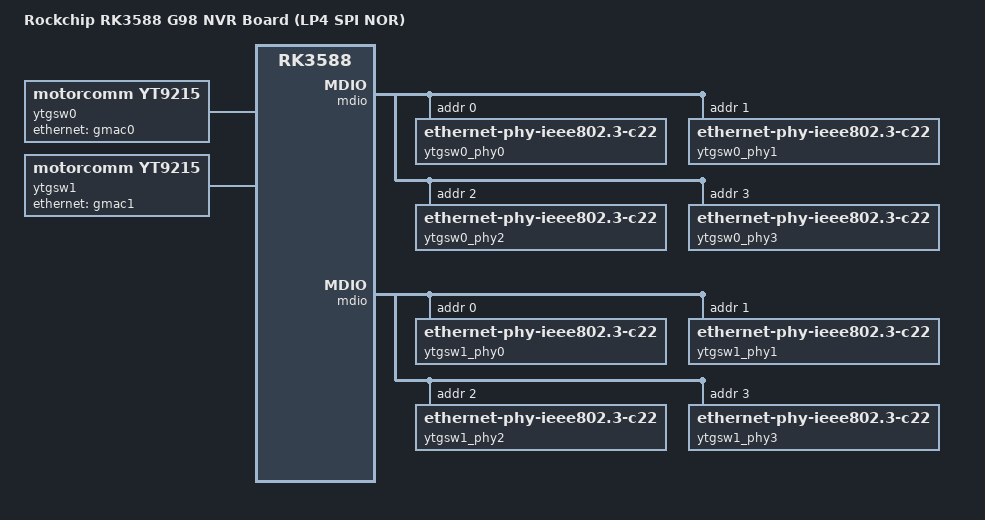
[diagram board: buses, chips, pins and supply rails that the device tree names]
// SPDX-License-Identifier: (GPL-2.0+ OR MIT)
/*
 * Copyright (c) 2026 stevenliuit
 *
 * Rockchip RK3588 G98 NVR Board — top-level DTS (boot from SPI-NOR).
 *
 * Usage in armbian fork:
 *   fdtfile=rockchip/rk3588-g98.dtb
 *
 * Boots via SPI-NOR partitions:
 *   loader  (1 MiB)   - SPL
 *   uboot   (2 MiB)   - idbloader.img + u-boot.itb
 *   boot    (27.6 MiB)- Image + rk3588-g98.dtb + ramdisk
 */

/dts-v1/;

#include "rk3588s.dtsi"
#include "rk3588-g98-common.dtsi"
#include "rk3588-g98.dtsi"

/ {
    model = "Rockchip RK3588 G98 NVR Board (LP4 SPI NOR)";
    compatible = "rockchip,rk3588-g98", "rockchip,rk3588";

    aliases {
        ethernet0 = &gmac0;       /* eth0 in userspace; LAN1..LAN4 underneath */
        ethernet1 = &gmac1;       /* eth1 in userspace; LAN5..LAN8 underneath */
        mmc0 = &sdhci;            /* eMMC */
        mmc1 = &sdmmc;            /* SD card */
        serial2 = &uart2;         /* console UART */
        spi5 = &sfc;              /* SPI-NOR */
    };

    chosen {
        stdout-path = "serial2:1500000n8";
        bootargs = "earlycon=uart8250,mmio32,0xfeb50000 console=ttyFIQ0 rootwait";
    };

    /* --- YT9215S #0: 5-port GbE switch on GMAC0 ---
     * Port layout (port@0..port@3 are user-facing LAN1..LAN4):
     *   port@0..port@3 → external GbE PHY (LAN1..LAN4)
     *   port@4        → SGMII uplink to GMAC0
     */
    ytgsw0: ytgsw@0 {
        compatible = "motorcomm,yt9215";
        status = "okay";
        reg = <0x0>;
        motorcomm,id = <0x4F>;
        motorcomm,mdio = <&mdio0>;
        motorcomm,internal_phy;

        ports {
            #address-cells = <1>;
            #size-cells = <0>;

            port@0 {
                reg = <0>;
                label = "lan1";
                phy-handle = <&ytgsw0_phy0>;
                phy-mode = "internal";
            };

            port@1 {
                reg = <1>;
                label = "lan2";
                phy-handle = <&ytgsw0_phy1>;
                phy-mode = "internal";
            };

            port@2 {
                reg = <2>;
                label = "lan3";
                phy-handle = <&ytgsw0_phy2>;
                phy-mode = "internal";
            };

            port@3 {
                reg = <3>;
                label = "lan4";
                phy-handle = <&ytgsw0_phy3>;
                phy-mode = "internal";
            };

            port@4 {
                reg = <4>;
                label = "cpu";
                ethernet = <&gmac0>;
                phy-mode = "sgmii";
            };
        };

        mdio {
            #address-cells = <1>;
            #size-cells = <0>;
            compatible = "motorcomm,yt9215-mdio";

            ytgsw0_phy0: phy@0 {
                reg = <0>;
                compatible = "ethernet-phy-ieee802.3-c22";
            };
            ytgsw0_phy1: phy@1 {
                reg = <1>;
                compatible = "ethernet-phy-ieee802.3-c22";
            };
            ytgsw0_phy2: phy@2 {
                reg = <2>;
                compatible = "ethernet-phy-ieee802.3-c22";
            };
            ytgsw0_phy3: phy@3 {
                reg = <3>;
                compatible = "ethernet-phy-ieee802.3-c22";
            };
        };
    };

    /* --- YT9215S #1: 5-port GbE switch on GMAC1 --- */
    ytgsw1: ytgsw@1 {
        compatible = "motorcomm,yt9215";
        status = "okay";
        reg = <0x1>;
        motorcomm,id = <0x4F>;
        motorcomm,mdio = <&mdio1>;
        motorcomm,internal_phy;

        ports {
            #address-cells = <1>;
            #size-cells = <0>;

            port@0 {
                reg = <0>;
                label = "lan5";
                phy-handle = <&ytgsw1_phy0>;
                phy-mode = "internal";
            };
            port@1 {
                reg = <1>;
                label = "lan6";
                phy-handle = <&ytgsw1_phy1>;
                phy-mode = "internal";
            };
            port@2 {
                reg = <2>;
                label = "lan7";
                phy-handle = <&ytgsw1_phy2>;
                phy-mode = "internal";
            };
            port@3 {
                reg = <3>;
                label = "lan8";
                phy-handle = <&ytgsw1_phy3>;
                phy-mode = "internal";
            };
            port@4 {
                reg = <4>;
                label = "cpu";
                ethernet = <&gmac1>;
                phy-mode = "sgmii";
            };
        };

        mdio {
            #address-cells = <1>;
            #size-cells = <0>;
            compatible = "motorcomm,yt9215-mdio";

            ytgsw1_phy0: phy@0 {
                reg = <0>;
                compatible = "ethernet-phy-ieee802.3-c22";
            };
            ytgsw1_phy1: phy@1 {
                reg = <1>;
                compatible = "ethernet-phy-ieee802.3-c22";
            };
            ytgsw1_phy2: phy@2 {
                reg = <2>;
                compatible = "ethernet-phy-ieee802.3-c22";
            };
            ytgsw1_phy3: phy@3 {
                reg = <3>;
                compatible = "ethernet-phy-ieee802.3-c22";
            };
        };
    };
};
